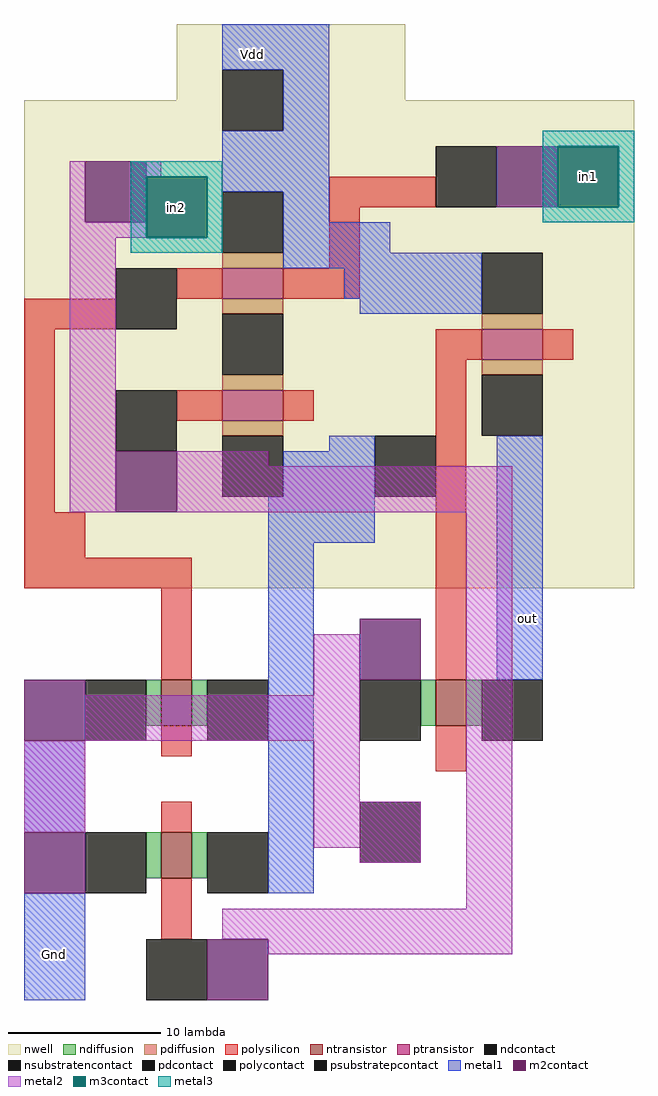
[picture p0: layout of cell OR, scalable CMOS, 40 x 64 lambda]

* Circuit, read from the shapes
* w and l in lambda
.subckt OR Gnd Vdd in1 in2 out
M1 n1 in2 Gnd VSUBS nfet w=3 l=2
M2 n1 in1 Gnd VSUBS nfet w=3 l=2
M3 out n1 Gnd VSUBS nfet w=3 l=2
M4 n2 in2 n1 Vdd pfet w=4 l=2
M5 Vdd in1 n2 Vdd pfet w=4 l=2
M6 Vdd n1 out Vdd pfet w=4 l=2
.ends

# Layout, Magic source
magic
tech scmos
<< nwell >>
rect -1 10 14 15
rect -11 -22 29 10
<< ntransistor >>
rect -2 -31 0 -28
rect 16 -31 18 -28
rect -2 -41 0 -38
<< ptransistor >>
rect 2 -3 6 -1
rect 19 -7 23 -5
rect 2 -11 6 -9
<< ndiffusion >>
rect -3 -31 -2 -28
rect 0 -31 1 -28
rect 15 -31 16 -28
rect 18 -31 19 -28
rect -3 -41 -2 -38
rect 0 -41 1 -38
<< pdiffusion >>
rect 2 -1 6 0
rect 2 -4 6 -3
rect 19 -5 23 -4
rect 2 -9 6 -8
rect 2 -12 6 -11
rect 19 -8 23 -7
<< ndcontact >>
rect -7 -32 -3 -28
rect 1 -32 5 -28
rect 11 -32 15 -28
rect 19 -32 23 -28
rect -7 -42 -3 -38
rect 1 -42 5 -38
<< pdcontact >>
rect 2 0 6 4
rect 2 -8 6 -4
rect 19 -4 23 0
rect 2 -16 6 -12
rect 19 -12 23 -8
<< psubstratepcontact >>
rect 11 -40 15 -36
<< nsubstratencontact >>
rect 2 8 6 12
<< polysilicon >>
rect 9 3 16 5
rect 9 -1 11 3
rect -11 -5 -5 -3
rect -1 -3 2 -1
rect 6 -3 11 -1
rect -11 -17 -9 -5
rect 16 -7 19 -5
rect 23 -7 25 -5
rect -1 -11 2 -9
rect 6 -11 8 -9
rect -11 -20 -7 -17
rect -11 -22 0 -20
rect -2 -28 0 -22
rect 16 -28 18 -7
rect -2 -33 0 -31
rect 16 -34 18 -31
rect -2 -38 0 -36
rect -2 -45 0 -41
<< polycontact >>
rect 16 3 20 7
rect -5 -5 -1 -1
rect -5 -13 -1 -9
rect 12 -16 16 -12
rect -3 -49 1 -45
<< metal1 >>
rect 2 12 9 15
rect 6 8 9 12
rect 2 4 9 8
rect 6 2 9 4
rect 6 0 13 2
rect 6 -1 19 0
rect 10 -3 19 -1
rect 11 -4 19 -3
rect 9 -13 12 -12
rect 6 -16 12 -13
rect 5 -19 12 -16
rect -11 -38 -7 -32
rect 5 -42 8 -19
rect 20 -28 23 -12
rect -11 -49 -7 -42
<< m2contact >>
rect -7 2 -3 6
rect 20 3 24 7
rect -5 -17 -1 -13
rect -11 -32 -7 -28
rect -11 -42 -7 -38
rect 11 -28 15 -24
rect 1 -49 5 -45
<< metal2 >>
rect -8 2 -7 6
rect -3 5 -2 6
rect -8 1 -3 2
rect -8 -17 -5 1
rect -1 -14 5 -13
rect -1 -17 21 -14
rect 8 -29 11 -25
rect -7 -32 11 -29
rect -11 -38 -7 -32
rect 8 -36 11 -32
rect 8 -39 15 -36
rect 11 -40 15 -39
rect 18 -43 21 -17
rect 2 -45 21 -43
rect 5 -46 21 -45
<< m3contact >>
rect -3 1 1 5
rect 24 3 28 7
<< metal3 >>
rect 23 7 29 8
rect -4 5 2 6
rect -4 1 -3 5
rect 1 1 2 5
rect 23 3 24 7
rect 28 3 29 7
rect 23 2 29 3
rect -4 0 2 1
<< labels >>
rlabel metal1 22 -24 22 -24 1 out
rlabel m3contact 26 5 26 5 6 in1
rlabel metal1 4 13 4 13 5 Vdd
rlabel metal1 -9 -46 -9 -46 2 Gnd
rlabel m3contact -1 3 -1 3 1 in2
<< end >>
